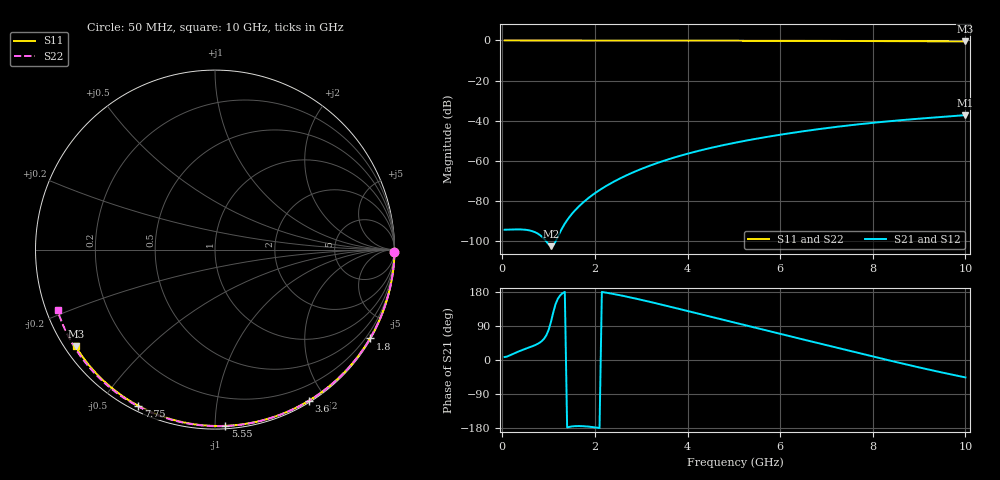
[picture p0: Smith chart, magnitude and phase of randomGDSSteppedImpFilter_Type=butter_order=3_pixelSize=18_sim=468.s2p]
! freq	dB(S11)	phase(S11)	dB(S12)	phase(S12)
!  dB(S21)	phase(S21)	dB(S22)	phase(S22)
!S-par simulation data
#  GHz  S  DB  R 50
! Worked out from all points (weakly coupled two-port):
!   200 points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, 50 MHz to 10 GHz, reference 50 ohm
!   highest |S21| = -37.15 dB at 10 GHz (marker M1); lowest = -102.3 dB at 1.05 GHz (marker M2)
!   lowest |S11| = -0.5 dB at 10 GHz (marker M3), VSWR 35.30, Z = 1.56 - j15.7 ohm
!   |S11| at or under -10 dB: nowhere
!   |S22| runs from -0.5 to 0.0 dB; largest |S21 - S12| = 0
!   S11 on the Smith chart (normalised r, x): 50 MHz: open; 1.8 GHz: 0.03, -3.76; 3.6 GHz: 0.02, -1.80; 5.55 GHz: 0.02, -1.06; 7.75 GHz: 0.02, -0.62; 10 GHz: 0.03, -0.31
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0.05  -0.00 -0.8  -94.17 7.9  -94.17 7.9  -0.00 -0.9
0.55  -0.01 -9.2  -94.34 31.8  -94.34 31.8  -0.01 -10.1
1.05  -0.02 -17.5  -102.34 100.0  -102.34 100.0  -0.02 -19.1
1.75  -0.04 -29.0  -80.50 -174.7  -80.50 -174.7  -0.04 -31.5
1.8  -0.04 -29.8  -79.52 -175.1  -79.52 -175.1  -0.04 -32.4
1.95  -0.04 -32.2  -76.83 -177.0  -76.83 -177.0  -0.04 -35.1
2.1  -0.04 -34.6  -74.45 -179.5  -74.45 -179.5  -0.05 -37.7
2.3  -0.05 -37.8  -71.63 176.5  -71.63 176.5  -0.05 -41.2
2.5  -0.05 -41.0  -69.14 171.9  -69.14 171.9  -0.06 -44.6
2.9  -0.06 -47.3  -64.88 161.5  -64.88 161.5  -0.07 -51.4
3.4  -0.07 -55.1  -60.54 147.3  -60.54 147.3  -0.08 -59.8
3.6  -0.08 -58.1  -59.03 141.3  -59.03 141.3  -0.08 -63.1
4.25  -0.10 -67.9  -54.85 121.7  -54.85 121.7  -0.10 -73.7
5.05  -0.12 -79.5  -50.77 97.4  -50.77 97.4  -0.13 -86.3
5.55  -0.14 -86.6  -48.63 82.4  -48.63 82.4  -0.15 -93.9
6.1  -0.17 -94.2  -46.54 66.0  -46.54 66.0  -0.18 -102.2
6.7  -0.20 -102.3  -44.53 48.1  -44.53 48.1  -0.22 -111.0
7.2  -0.23 -109.0  -43.03 33.2  -43.03 33.2  -0.25 -118.3
7.75  -0.27 -116.2  -41.57 16.7  -41.57 16.7  -0.29 -126.2
8.35  -0.32 -123.9  -40.20 -1.0  -40.20 -1.0  -0.35 -134.8
9.2  -0.40 -134.9  -38.55 -25.0  -38.55 -25.0  -0.43 -147.1
10  -0.49 -145.2  -37.15 -45.9  -37.15 -45.9  -0.53 -158.9
